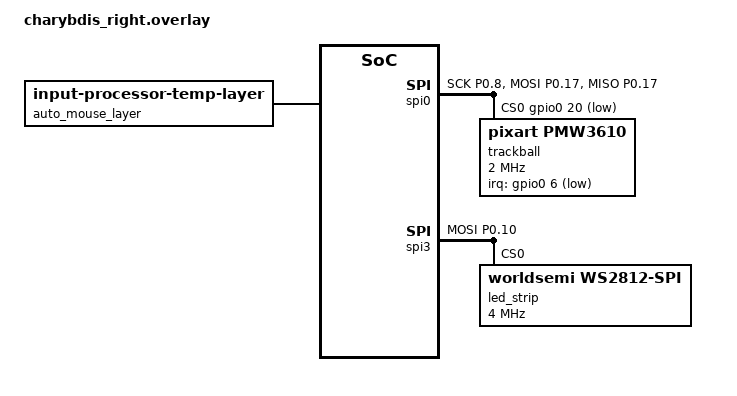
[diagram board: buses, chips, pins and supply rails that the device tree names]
/*
 * Copyright (c) 2020 ZMK Contributors
 *
 * SPDX-License-Identifier: MIT
 */
 
#include "charybdis.dtsi"

&default_transform {
    col-offset = <6>;
}; 

&kscan0 {
	col-gpios
		= <&gpio0 2 (GPIO_ACTIVE_HIGH | GPIO_PULL_DOWN)>
		, <&gpio0 29 (GPIO_ACTIVE_HIGH | GPIO_PULL_DOWN)>
		, <&gpio0 9 (GPIO_ACTIVE_HIGH | GPIO_PULL_DOWN)>
		, <&gpio1 0  (GPIO_ACTIVE_HIGH | GPIO_PULL_DOWN)>
		, <&gpio0 11 (GPIO_ACTIVE_HIGH | GPIO_PULL_DOWN)>
		, <&gpio1 4  (GPIO_ACTIVE_HIGH | GPIO_PULL_DOWN)>
		;
};

// trackball bus
&pinctrl {
    spi0_default: spi0_default {
        group1 {
            psels = <NRF_PSEL(SPIM_SCK, 0, 8)>,
                <NRF_PSEL(SPIM_MOSI, 0, 17)>,
                <NRF_PSEL(SPIM_MISO, 0, 17)>;
        };
    };

    spi0_sleep: spi0_sleep {
        group1 {
            psels = <NRF_PSEL(SPIM_SCK, 0, 8)>,
                <NRF_PSEL(SPIM_MOSI, 0, 17)>,
                <NRF_PSEL(SPIM_MISO, 0, 17)>;
            low-power-enable;
        };
    };
};

&spi0 {
    status = "okay";
    compatible = "nordic,nrf-spim";
    pinctrl-0 = <&spi0_default>;
    pinctrl-1 = <&spi0_sleep>;
    pinctrl-names = "default", "sleep";
    cs-gpios = <&gpio0 20 GPIO_ACTIVE_LOW>;

    trackball: trackball@0 {
        status = "okay";
        compatible = "pixart,pmw3610";
        reg = <0>;
        spi-max-frequency = <2000000>;
        irq-gpios = <&gpio0 6 (GPIO_ACTIVE_LOW | GPIO_PULL_UP)>;
        scroll-layers = <1>;
        //snipe-layers = <2>;
        // automouse-layer 는 쓰지 않는다. 드라이버 구현은 움직임이 1카운트만 들어와도
        // 무조건 레이어를 켜서, 손바닥이 볼에 스치기만 해도 오작동한다.
        // 대신 아래 trackball_listener 의 zmk,input-processor-temp-layer 를 쓴다.
    };
};


//RGB bus
&pinctrl {
    spi3_default: spi3_default {
        group1 {
            psels = <NRF_PSEL(SPIM_MOSI, 0, 10)>;
        };
    };

    spi3_sleep: spi3_sleep {
        group1 {
            psels = <NRF_PSEL(SPIM_MOSI, 0, 10)>;
            low-power-enable;
        };
    };
};

&spi3 {
    compatible = "nordic,nrf-spim";
    status = "okay";

    pinctrl-0 = <&spi3_default>;
    pinctrl-1 = <&spi3_sleep>;
    pinctrl-names = "default", "sleep";

    led_strip: ws2812@0 {
        compatible = "worldsemi,ws2812-spi";

        /* SPI */
        reg = <0>; /* ignored, but necessary for SPI bindings */
        spi-max-frequency = <4000000>;

        /* WS2812 */
        chain-length = <27>; /* number of LEDs */
        spi-one-frame = <0x70>;
        spi-zero-frame = <0x40>;
        color-mapping = <LED_COLOR_ID_GREEN
                         LED_COLOR_ID_RED
                         LED_COLOR_ID_BLUE>;
    };
};



/ {
    // 트랙볼을 굴리면 AUTOMOUSE(4) 레이어를 잠깐 켜 주는 프로세서.
    // require-prior-idle-ms: 마지막 키 입력 후 이 시간이 지나야 레이어가 켜진다.
    //   타이핑 중 손바닥이 볼을 스쳐도 레이어가 뜨지 않게 하는 핵심 설정.
    // excluded-positions: 이 위치(H/J/K/L = 클릭 키)를 뺀 나머지 키를 누르면
    //   레이어가 즉시 꺼진다. 잘못 켜졌어도 다음 타건에서 바로 원복된다.
    auto_mouse_layer: auto_mouse_layer {
        compatible = "zmk,input-processor-temp-layer";
        #input-processor-cells = <2>;
        require-prior-idle-ms = <300>;
        excluded-positions = <30 31 32 33>;
    };

    trackball_listener {
        compatible = "zmk,input-listener";
        device = <&trackball>;
        // <레이어 번호> <유지 시간 ms>
        // 유지 시간은 볼이 멈춘 뒤 클릭 레이어가 남아있는 시간.
        // 이 시간 안이라도 클릭 키(excluded-positions) 외의 키를 누르면 즉시 해제된다.
        input-processors = <&auto_mouse_layer 4 800>;

        // automouse 는 베이스 레이어에서만 뜬다.
        // 레이어를 손으로 잡고 있는 동안 볼을 건드려도 그 레이어가 덮이지 않게,
        // 프로세서 없는 오버라이드를 걸어 base 의 input-processors 를 건너뛴다.
        //   NAV(1)      : 화살표 + scroll-layers 대상
        //   NAV_MOUSE(2): 엄지 홀드 마우스 레이어(mmv/msc)
        //   MOD(3)      : 부트로더/BT
        no_automouse {
            layers = <1 2 3>;
        };
    };
};


